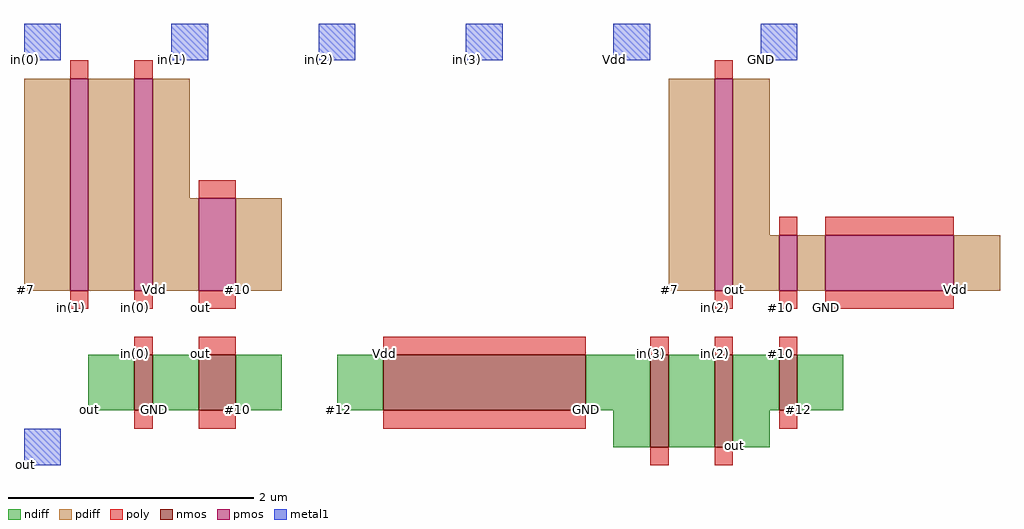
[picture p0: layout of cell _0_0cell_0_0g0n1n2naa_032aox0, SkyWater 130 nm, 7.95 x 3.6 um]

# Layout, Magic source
magic
tech sky130A
magscale 1 2
<< nmos >>
rect 300 150 330 240
rect 405 150 465 240
rect 705 150 1035 240
rect 1140 90 1170 240
rect 1245 90 1275 240
rect 1350 150 1380 240
<< pmos >>
rect 195 345 225 690
rect 300 345 330 690
rect 405 345 465 495
rect 1245 345 1275 690
rect 1350 345 1380 435
rect 1425 345 1635 435
<< ndiff >>
rect 225 150 300 240
rect 330 150 405 240
rect 465 150 540 240
rect 630 150 705 240
rect 1035 150 1140 240
rect 1080 90 1140 150
rect 1170 90 1245 240
rect 1275 150 1350 240
rect 1380 150 1455 240
rect 1275 90 1335 150
<< pdiff >>
rect 120 345 195 690
rect 225 345 300 690
rect 330 495 390 690
rect 330 345 405 495
rect 465 345 540 495
rect 1170 345 1245 690
rect 1275 435 1335 690
rect 1275 345 1350 435
rect 1380 345 1425 435
rect 1635 345 1710 435
<< poly >>
rect 195 690 225 720
rect 300 690 330 720
rect 1245 690 1275 720
rect 405 495 465 525
rect 1350 435 1380 465
rect 1425 435 1635 465
rect 195 315 225 345
rect 300 315 330 345
rect 405 315 465 345
rect 1245 315 1275 345
rect 1350 315 1380 345
rect 1425 315 1635 345
rect 300 240 330 270
rect 405 240 465 270
rect 705 240 1035 270
rect 1140 240 1170 270
rect 1245 240 1275 270
rect 1350 240 1380 270
rect 300 120 330 150
rect 405 120 465 150
rect 705 120 1035 150
rect 1350 120 1380 150
rect 1140 60 1170 90
rect 1245 60 1275 90
<< metal1 >>
rect 120 720 180 780
rect 360 720 420 780
rect 600 720 660 780
rect 840 720 900 780
rect 1080 720 1140 780
rect 1320 720 1380 780
rect 120 60 180 120
<< labels >>
rlabel pdiff 467 347 467 347 3 #10
rlabel ndiff 467 152 467 152 3 #10
rlabel poly 407 242 407 242 3 out
rlabel poly 407 317 407 317 3 out
rlabel ndiff 332 152 332 152 3 GND
rlabel pdiff 332 347 332 347 3 Vdd
rlabel poly 302 242 302 242 3 in(0)
rlabel poly 302 317 302 317 3 in(0)
rlabel ndiff 227 152 227 152 3 out
rlabel poly 197 317 197 317 3 in(1)
rlabel pdiff 122 347 122 347 3 #7
rlabel pdiff 1637 347 1637 347 3 Vdd
rlabel poly 1427 317 1427 317 3 GND
rlabel ndiff 1382 152 1382 152 3 #12
rlabel poly 1352 242 1352 242 3 #10
rlabel poly 1352 317 1352 317 3 #10
rlabel pdiff 1277 347 1277 347 3 out
rlabel ndiff 1277 92 1277 92 3 out
rlabel poly 1247 242 1247 242 3 in(2)
rlabel poly 1247 317 1247 317 3 in(2)
rlabel pdiff 1172 347 1172 347 3 #7
rlabel poly 1142 242 1142 242 3 in(3)
rlabel ndiff 1037 152 1037 152 3 GND
rlabel poly 707 242 707 242 3 Vdd
rlabel ndiff 632 152 632 152 3 #12
rlabel metal1 1322 722 1322 722 3 GND
port 1 e
rlabel metal1 1082 722 1082 722 3 Vdd
port 2 e
rlabel metal1 842 722 842 722 3 in(3)
port 3 e
rlabel metal1 602 722 602 722 3 in(2)
port 4 e
rlabel metal1 362 722 362 722 3 in(1)
port 5 e
rlabel metal1 122 62 122 62 3 out
port 6 e
rlabel metal1 122 722 122 722 3 in(0)
port 7 e
<< end >>
